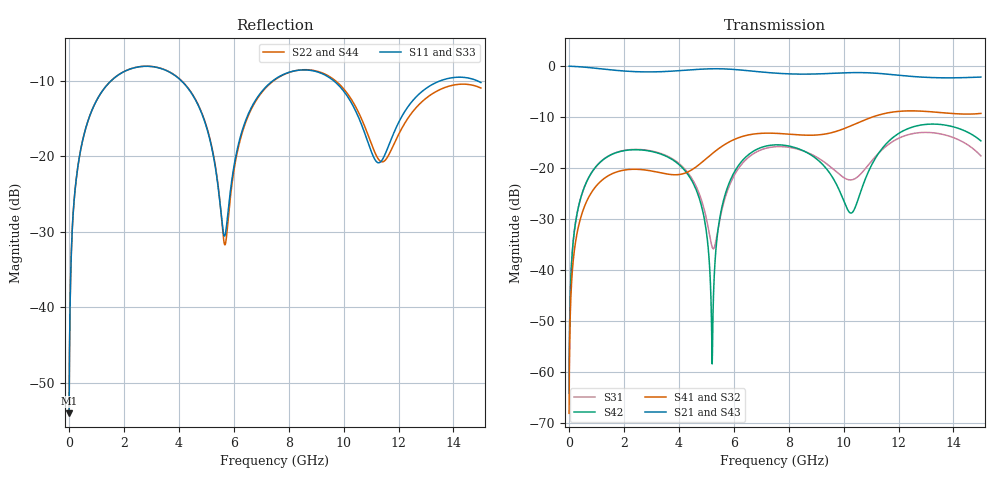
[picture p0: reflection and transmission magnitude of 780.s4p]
! Created with skrf 1.8.0 (http://scikit-rf.org).
# GHz S RI R 50.0
!freq ReS11 ImS11 ReS12 ImS12 ReS13 ImS13
! ReS14 ImS14
! ReS21 ImS21 ReS22 ImS22 ReS23 ImS23
! ReS24 ImS24
! ReS31 ImS31 ReS32 ImS32 ReS33 ImS33
! ReS34 ImS34
! ReS41 ImS41 ReS42 ImS42 ReS43 ImS43
! ReS44 ImS44
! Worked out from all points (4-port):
!   2499 points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, 5 MHz to 15 GHz, reference 50 ohm
!   strongest paths, dB at 5 MHz, 3.476 GHz, 7.19 GHz, 11.1 GHz, 15 GHz:
!     S21: 0.0, -1.1, -1.2, -1.4, -2.1
!     S43: 0.0, -1.1, -1.2, -1.4, -2.1
!     S41: -68.1, -21.1, -13.1, -9.9, -9.3
!     S32: -68.1, -21.1, -13.2, -9.9, -9.3
!     S42: -64.2, -17.5, -15.7, -18.6, -14.7
!     S31: -64.2, -17.4, -16.1, -18.1, -17.6
!   lowest |S11| = -54.0 dB at 5 MHz (marker M1), VSWR 1.00, Z = 50.2 + j0.121 ohm
!   |S11| at or under -10 dB: start of sweep to 1.532 GHz; 4.094 GHz to 7.42 GHz (3.326 GHz wide, 57.8 % of centre); 9.643 GHz to 13.52 GHz (3.874 GHz wide, 33.5 % of centre) (the widest 3 of 4)
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0.005  0.00159 0.00121  0.9984 -0.00309  7.89e-05 0.000614  -7.68e-05 -0.000387
       0.9984 -0.00309  0.00159 0.00121  -7.68e-05 -0.000387  7.89e-05 0.000614
       7.89e-05 0.000614  -7.68e-05 -0.000387  0.00159 0.00121  0.9984 -0.00309
       -7.68e-05 -0.000387  7.89e-05 0.000614  0.9984 -0.00309  0.00159 0.00121
0.3126303  0.0227 0.0797  0.9691 -0.1923  0.0102 0.0366  -0.00847 -0.0229
           0.9691 -0.1923  0.0227 0.0797  -0.00847 -0.0229  0.0101 0.0366
           0.0102 0.0366  -0.00847 -0.0229  0.0227 0.0797  0.9691 -0.1923
           -0.00847 -0.0229  0.0101 0.0366  0.9691 -0.1923  0.0227 0.0797
1.519383  0.2542 0.1856  0.5844 -0.7089  0.1194 0.063  -0.0859 -0.0119
          0.5844 -0.7089  0.2546 0.1854  -0.0858 -0.012  0.118 0.0648
          0.1194 0.063  -0.0858 -0.012  0.2542 0.1855  0.5844 -0.7089
          -0.0859 -0.0119  0.118 0.0648  0.5844 -0.7089  0.2545 0.1854
5.214673  0.0532 -0.0968  -0.8905 -0.3056  -0.0156 -0.00622  -0.0401 0.1327
          -0.8905 -0.3056  0.0508 -0.1004  -0.0415 0.1322  0.0012 9.93e-05
          -0.0156 -0.00622  -0.0415 0.1322  0.0532 -0.096  -0.8907 -0.3053
          -0.0401 0.1327  0.0012 9.93e-05  -0.8907 -0.3053  0.0502 -0.0997
6.102543  0.0585 0.0884  -0.9056 0.1782  0.036 0.0856  0.0527 0.1879
          -0.9056 0.1782  0.0533 0.0858  0.0508 0.1883  0.054 0.0834
          0.036 0.0856  0.0508 0.1883  0.0596 0.0896  -0.9054 0.1786
          0.0527 0.1879  0.054 0.0834  -0.9054 0.1786  0.0528 0.087
8.809921  0.3687 -0.0379  0.0244 0.8349  0.1025 -0.0914  0.2017 -0.0584
          0.0244 0.8349  0.3714 -0.0341  0.2017 -0.0543  0.1063 -0.0827
          0.1025 -0.0914  0.2017 -0.0543  0.3716 -0.04  0.0241 0.8339
          0.2017 -0.0584  0.1063 -0.0827  0.0241 0.8339  0.3733 -0.0321
15  0.2876 -0.111  -0.1387 -0.7683  0.091 -0.0952  -0.323 0.1174
    -0.1387 -0.7683  0.2735 -0.0745  -0.3246 0.1059  0.1038 -0.1532
    0.091 -0.0952  -0.3246 0.1059  0.283 -0.1177  -0.1382 -0.7698
    -0.323 0.1174  0.1038 -0.1532  -0.1382 -0.7698  0.2691 -0.0644
